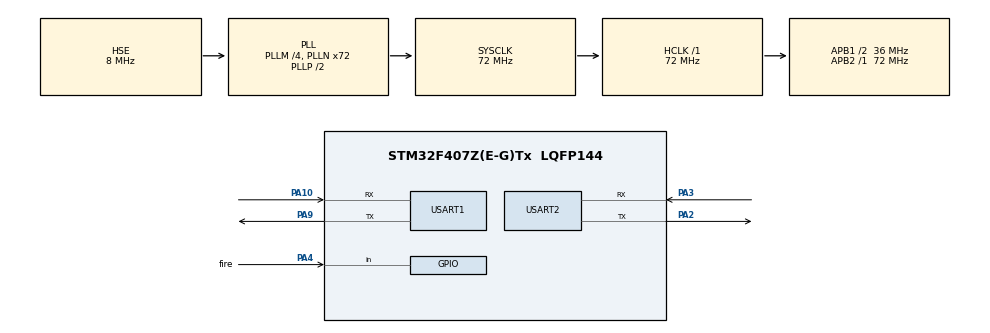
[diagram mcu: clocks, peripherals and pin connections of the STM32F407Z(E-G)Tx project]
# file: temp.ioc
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Mcu.Family=STM32F4
Mcu.Name=STM32F407Z(E-G)Tx
Mcu.Package=LQFP144
NVIC.PriorityGroup=NVIC_PRIORITYGROUP_4
NVIC.RCC_IRQn=true\:0\:0\:false\:false\:true\:true\:false\:true
NVIC.USART1_IRQn=true\:0\:0\:false\:false\:true\:true\:true\:true
NVIC.USART2_IRQn=true\:0\:0\:false\:false\:true\:true\:true\:true
PA10.Mode=Asynchronous
PA10.Signal=USART1_RX
PA13.Mode=Serial_Wire
PA13.Signal=SYS_JTMS-SWDIO
PA14.Mode=Serial_Wire
PA14.Signal=SYS_JTCK-SWCLK
PA2.Mode=Asynchronous
PA2.Signal=USART2_TX
PA3.Mode=Asynchronous
PA3.Signal=USART2_RX
PA4.GPIO_Label=fire
PA4.Signal=GPIO_Input
PA9.Mode=Asynchronous
PA9.Signal=USART1_TX
PH0-OSC_IN.Mode=HSE-External-Oscillator
PH0-OSC_IN.Signal=RCC_OSC_IN
PH1-OSC_OUT.Mode=HSE-External-Oscillator
PH1-OSC_OUT.Signal=RCC_OSC_OUT
ProjectManager.HeapSize=0x200
ProjectManager.StackSize=0x400
ProjectManager.TargetToolchain=MDK-ARM V5
RCC.48MHZClocksFreq_Value=36000000
RCC.AHBFreq_Value=72000000
RCC.APB1CLKDivider=RCC_HCLK_DIV2
RCC.APB1Freq_Value=36000000
RCC.APB1TimFreq_Value=72000000
RCC.APB2Freq_Value=72000000
RCC.APB2TimFreq_Value=72000000
RCC.CortexFreq_Value=72000000
RCC.HCLKFreq_Value=72000000
RCC.HSE_VALUE=8000000
RCC.HSI_VALUE=16000000
RCC.LSE_VALUE=32768
RCC.PLLM=4
RCC.PLLN=72
RCC.PLLSourceVirtual=RCC_PLLSOURCE_HSE
RCC.SYSCLKFreq_VALUE=72000000
RCC.SYSCLKSource=RCC_SYSCLKSOURCE_PLLCLK
RCC.VCOOutputFreq_Value=144000000
USART1.VirtualMode=VM_ASYNC
USART2.VirtualMode=VM_ASYNC
board=custom

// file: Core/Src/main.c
/* USER CODE BEGIN Header */
/**
  ******************************************************************************
  * @file           : main.c
  * @brief          : Main program body
  ******************************************************************************
  * @attention
  *
  * Copyright (c) 2025 STMicroelectronics.
  * All rights reserved.
  *
  * This software is licensed under terms that can be found in the LICENSE file
  * in the root directory of this software component.
  * If no LICENSE file comes with this software, it is provided AS-IS.
  *
  ******************************************************************************
  */
/* USER CODE END Header */
#include "main.h"
#include "usart.h"
#include "gpio.h"

/* USER CODE BEGIN Includes */
#include <stdio.h>   /* 用于sprintf函数 */
#include <string.h>  /* 用于strlen函数 */
/* USER CODE END Includes */

/* USER CODE BEGIN PV */
uint8_t rx_buffer[128];  // 接收缓冲�??
uint8_t rx_char;        // 单字符接�??
uint16_t rx_index = 0;  // 接收索引
uint8_t fire_detected = 0; // 火光�??测标志，0=未检测到�??1=�??测到
GPIO_PinState fire_sensor_state; // 火光传感器状�??
char debug_msg[64]; // 调试信息缓冲�??
/* USER CODE END PV */

void SystemClock_Config(void);

int main(void)
{

  /* MCU Configuration--------------------------------------------------------*/

  /* Reset of all peripherals, Initializes the Flash interface and the Systick. */
  HAL_Init();

  /* Configure the system clock */
  SystemClock_Config();

  /* Initialize all configured peripherals */
  MX_GPIO_Init();
  MX_USART1_UART_Init();
  MX_USART2_UART_Init();
  /* USER CODE BEGIN 2 */
  // 初始化消�??
  sprintf(debug_msg, "Fire Sensor Monitoring Started\r\n");
  HAL_UART_Transmit(&huart1, (uint8_t*)debug_msg, strlen(debug_msg), HAL_MAX_DELAY);
  /* USER CODE END 2 */

  /* Infinite loop */
  while (1)
  {

    /* USER CODE BEGIN 3 */
    // �??测火光传感器状�?? - 高电平表示无火，低电平表示检测到�??
    fire_sensor_state = HAL_GPIO_ReadPin(FIRE_SENSOR_GPIO_Port, FIRE_SENSOR_Pin);

    // 判断是否�??测到火（低电平）
    if(fire_sensor_state == GPIO_PIN_RESET && fire_detected == 0) {
      // �??测到火警
      fire_detected = 1;

      // 通过串口1打印状�??
      sprintf(debug_msg, "Fire DETECTED! Pin Status: LOW\r\n");
      HAL_UART_Transmit(&huart1, (uint8_t*)debug_msg, strlen(debug_msg), HAL_MAX_DELAY);

    } else if(fire_sensor_state == GPIO_PIN_SET && fire_detected == 1) {
      // 火警解除
      fire_detected = 0;

      // 通过串口1打印状�??
      sprintf(debug_msg, "No Fire Detected. Pin Status: HIGH\r\n");
      HAL_UART_Transmit(&huart1, (uint8_t*)debug_msg, strlen(debug_msg), HAL_MAX_DELAY);
    }

    // �??1秒发送一次火光数�??
    HAL_Delay(1000);
    sprintf(debug_msg, "Fire Status: %s (Pin: %s)\r\n",
            fire_detected ? "ALARM" : "NORMAL",
            fire_sensor_state == GPIO_PIN_SET ? "HIGH" : "LOW");
    HAL_UART_Transmit(&huart1, (uint8_t*)debug_msg, strlen(debug_msg), HAL_MAX_DELAY);
  }
  /* USER CODE END 3 */
}

void SystemClock_Config(void)
{
  RCC_OscInitTypeDef RCC_OscInitStruct = {0};
  RCC_ClkInitTypeDef RCC_ClkInitStruct = {0};

  /** Configure the main internal regulator output voltage
  */
  __HAL_RCC_PWR_CLK_ENABLE();
  __HAL_PWR_VOLTAGESCALING_CONFIG(PWR_REGULATOR_VOLTAGE_SCALE1);

  /** Initializes the RCC Oscillators according to the specified parameters
  * in the RCC_OscInitTypeDef structure.
  */
  RCC_OscInitStruct.OscillatorType = RCC_OSCILLATORTYPE_HSE;
  RCC_OscInitStruct.HSEState = RCC_HSE_ON;
  RCC_OscInitStruct.PLL.PLLState = RCC_PLL_ON;
  RCC_OscInitStruct.PLL.PLLSource = RCC_PLLSOURCE_HSE;
  RCC_OscInitStruct.PLL.PLLM = 4;
  RCC_OscInitStruct.PLL.PLLN = 72;
  RCC_OscInitStruct.PLL.PLLP = RCC_PLLP_DIV2;
  RCC_OscInitStruct.PLL.PLLQ = 4;
  if (HAL_RCC_OscConfig(&RCC_OscInitStruct) != HAL_OK)
  {
    Error_Handler();
  }

  /** Initializes the CPU, AHB and APB buses clocks
  */
  RCC_ClkInitStruct.ClockType = RCC_CLOCKTYPE_HCLK|RCC_CLOCKTYPE_SYSCLK
                              |RCC_CLOCKTYPE_PCLK1|RCC_CLOCKTYPE_PCLK2;
  RCC_ClkInitStruct.SYSCLKSource = RCC_SYSCLKSOURCE_PLLCLK;
  RCC_ClkInitStruct.AHBCLKDivider = RCC_SYSCLK_DIV1;
  RCC_ClkInitStruct.APB1CLKDivider = RCC_HCLK_DIV2;
  RCC_ClkInitStruct.APB2CLKDivider = RCC_HCLK_DIV1;

  if (HAL_RCC_ClockConfig(&RCC_ClkInitStruct, FLASH_LATENCY_2) != HAL_OK)
  {
    Error_Handler();
  }
}

void Error_Handler(void)
{
  __disable_irq();
  while (1)
  {
  }
}
